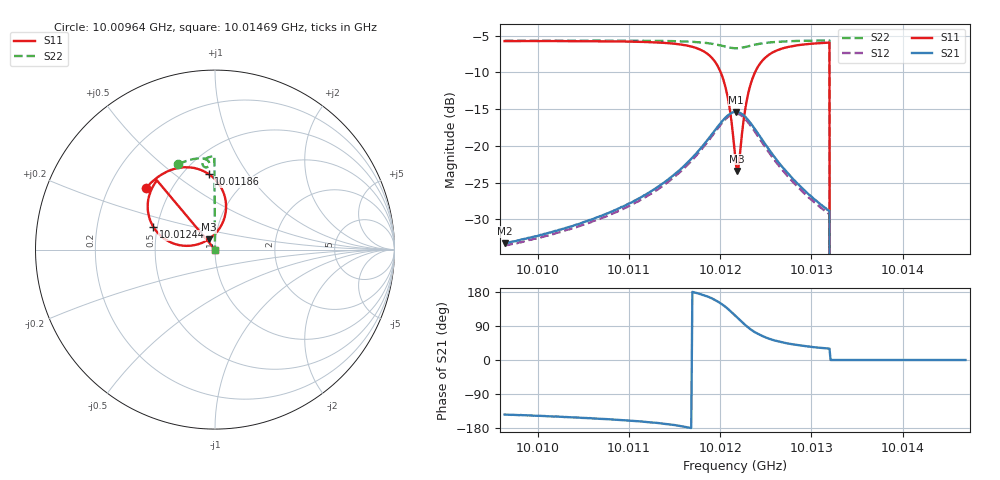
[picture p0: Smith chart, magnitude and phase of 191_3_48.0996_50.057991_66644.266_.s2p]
#  HZ  S  RI  R  50.00
! Rohde & Schwarz Vector Network Analyzer
! Rohde-Schwarz,ZNB20-2Port,1311601062101988,3.16
! Created: UTC 12/23/2023, 3:53:46 AM
! freq[Hz]  re:S11  im:S11  re:S21  im:S21  re:S12  im:S12  re:S22  im:S22
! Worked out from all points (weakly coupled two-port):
!   401 points, 10.00964 GHz to 10.01469 GHz, reference 50 ohm
!   highest |S21| = -15.38 dB at 10.01218 GHz (marker M1); lowest = -33.3 dB at 10.00964 GHz (marker M2)
!   lowest |S11| = -23.4 dB at 10.01219 GHz (marker M3), VSWR 1.14, Z = 46.3 + j5.35 ohm
!   |S11| at or under -10 dB: 10.01201 GHz to 10.01238 GHz (376.9 kHz wide, 0.00376 % of centre); 10.0132 GHz to end of sweep
!   |S22| runs from - to -5.7 dB; largest |S21 - S12| = 0.0087
!   S11 on the Smith chart (normalised r, x): 10.00964 GHz: 0.36, +0.34; 10.01186 GHz: 0.66, +0.67; 10.01244 GHz: 0.48, +0.14; 10.01469 GHz: 1.00, +0.00
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1.0009637e10  -0.3848 0.3426  -0.0176 -0.0128  -0.0161 -0.013  -0.2036 0.4764
1.0010483e10  -0.3296 0.3957  -0.0266 -0.0137  -0.0249 -0.0145  -0.1505 0.4965
1.0011329e10  -0.2272 0.4496  -0.0517 -0.0123  -0.0492 -0.0143  -0.0902 0.5086
1.0011632e10  -0.1456 0.4584  -0.0756 -0.00361  -0.0727 -0.00761  -0.0637 0.5076
1.0011859e10  -0.0354 0.421  -0.1067 0.023  -0.1045 0.0169  -0.0413 0.4976
1.0011973e10  0.0335 0.3467  -0.1214 0.0584  -0.1211 0.0508  -0.0325 0.4849
1.0012049e10  0.0611 0.2556  -0.1209 0.0943  -0.1222 0.0864  -0.0318 0.4728
1.0012099e10  0.0534 0.1794  -0.1092 0.1218  -0.1116 0.1144  -0.0356 0.4647
1.0012162e10  -0.000536 0.0862  -0.0784 0.1508  -0.0827 0.1437  -0.0456 0.4584
1.0012175e10  -0.0172 0.071  -0.0705 0.1549  -0.0752 0.1478  -0.048 0.458
1.0012188e10  -0.0353 0.0576  -0.0624 0.158  -0.0668 0.1513  -0.0504 0.4578
1.0012213e10  -0.0749 0.0365  -0.0456 0.1616  -0.0499 0.1556  -0.0553 0.4586
1.0012263e10  -0.1588 0.0208  -0.0131 0.1593  -0.0175 0.1537  -0.0635 0.4636
1.0012314e10  -0.2337 0.0348  0.0142 0.147  0.00909 0.1421  -0.0681 0.4714
1.0012364e10  -0.2907 0.0669  0.0329 0.1301  0.0271 0.1261  -0.0694 0.4796
1.001244e10  -0.3427 0.1251  0.0469 0.1045  0.0415 0.1018  -0.0665 0.4904
1.0012642e10  -0.3749 0.2502  0.0506 0.0579  0.0459 0.0573  -0.0498 0.5078
1.0013008e10  -0.3432 0.3564  0.0368 0.0252  0.0337 0.0258  -0.0184 0.5183
1.0013173e10  -0.326 0.3822  0.0317 0.0185  0.0293 0.0194  -0.00563 0.5203
1.0013236e10  0 0  0 0  0 0  0 0
1.0013854e10  0 0  0 0  0 0  0 0
1.0014688e10  0 0  0 0  0 0  0 0
